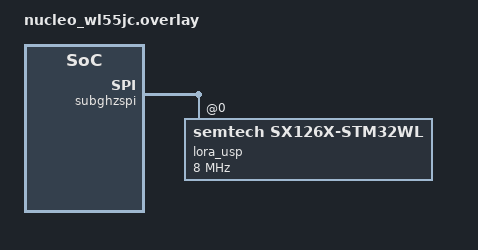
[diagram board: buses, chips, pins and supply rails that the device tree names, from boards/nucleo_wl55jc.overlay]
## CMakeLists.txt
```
# Copyright (c) 2024 Semtech Corporation
# SPDX-License-Identifier: Apache-2.0

cmake_minimum_required(VERSION 3.13.1)

find_package(Zephyr REQUIRED HINTS $ENV{ZEPHYR_BASE})
project(periodical_uplink)

target_sources(app PRIVATE
  src/main.c
)

# Apply the same compile definitions as LBM library
# Link against the INTERFACE library that contains all LBM compile definitions
target_link_libraries(app PRIVATE lbm_compile_definitions)
```

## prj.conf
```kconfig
# Copyright (c) 2024 Semtech Corporation
# SPDX-License-Identifier: Apache-2.0

# --------------------------- General configuration ---------------------------

CONFIG_USE_SEGGER_RTT=n

# heap size
CONFIG_HEAP_MEM_POOL_SIZE=4096

# log
CONFIG_LOG=y
CONFIG_LOG_BACKEND_SHOW_COLOR=n # Set it to 'y' to enable color formatting on output messages

CONFIG_TEST_RANDOM_GENERATOR=y

CONFIG_PM_DEVICE=y

CONFIG_WATCHDOG=n

CONFIG_FLASH=y

# ------------------------------ Transceiver driver ----------------------------

CONFIG_LORA_BASICS_MODEM_DRIVERS=y
# We chose to disable intermediate thread between IRQ and USP RAC Thread to make timestamping is as fast as possible
CONFIG_LORA_BASICS_MODEM_DRIVERS_EVENT_TRIGGER_NO_THREAD=y
#CONFIG_LORA_BASICS_MODEM_DRIVERS_EVENT_TRIGGER_GLOBAL_THREAD=n
#CONFIG_LORA_BASICS_MODEM_DRIVERS_EVENT_TRIGGER_OWN_THREAD=n

# ------------------------------ LoRa Basics Modem -----------------------------

CONFIG_USP_LORA_BASICS_MODEM=y

CONFIG_LORA_BASICS_MODEM_RELAY_TX=n

# CONFIG_LORA_BASICS_MODEM_MULTICAST=y
# CONFIG_LORA_BASICS_MODEM_FUOTA=y
# CONFIG_LORA_BASICS_MODEM_FUOTA_V2=y
# CONFIG_LORA_BASICS_MODEM_ALC_SYNC=y
# CONFIG_LORA_BASICS_MODEM_ALC_SYNC_V2=y

# ------------------------------ USP -----------------------------


CONFIG_USP=y
CONFIG_USP_MAIN_THREAD=y

#CONFIG_USP_LOG_LEVEL_DBG=y

CONFIG_LOG_BUFFER_SIZE=4096

# CONFIG_CLOCK_CONTROL=y
# CONFIG_CLOCK_CONTROL_NRF=y

# Threads are cooperative (non-preemptive) to simplify critical section management and avoid complex synchronization.
# This approach may reduce reactivity when ISR (interrupt service routines) are triggered (low optimization)
# The USP RAC thread is assigned a higher priority: it will execute immediately once the Main thread yields or blocks, ensuring prompt handling of USP RAC-related tasks.
# The Main thread has a lower priority: it runs only when the USP RAC thread is idle or waiting
CONFIG_MAIN_THREAD_PRIORITY=-2
CONFIG_USP_MAIN_THREAD_PRIORITY=-4

# Threads are preemptive: a thread with a higher priority can interrupt (preempt) a lower priority thread at any time.
# USP RAC thread has higher priority (1): it will preempt the main thread immediately whenever it is ready to run (ISR/Timer), ensuring low latency and fast response for USP RAC-related tasks.
# Main thread has lower priority (3): it runs only when the USP RAC thread is not active, yielding CPU time to the more urgent USP RAC operations automatically.
# This priority scheme allows responsive multitasking with guaranteed preemption based on thread priority.
# CONFIG_MAIN_THREAD_PRIORITY=3
# CONFIG_USP_MAIN_THREAD_PRIORITY=1
# CONFIG_USP_THREADS_MUTEXES=y
#
# Priority Inversion : In case of multiple threads with different priorities, consider the modification of existing priorities and mutex use, or use Zephyr capabilities :
# CONFIG_KERNEL_MEM_POOL=y
# CONFIG_MUTEX_PRIORITY_INHERITANCE=y
# CONFIG_PRIORITY_CEILING=y

# Only one thread
# CONFIG_USP_MAIN_THREAD_PRIORITY=0

# Stack
CONFIG_MAIN_STACK_SIZE=4096
CONFIG_STACK_SENTINEL=y

# Debug stack (à enlever en production)
CONFIG_THREAD_STACK_INFO=y
CONFIG_STACK_SENTINEL=y
CONFIG_THREAD_MONITOR=y
CONFIG_THREAD_NAME=y

# The following parameter disable nRF54L15 FLASH RRAM buffer size to prevent from issue being investigating
CONFIG_NRF_RRAM_WRITE_BUFFER_SIZE=0


# ------------------------------ Power management -----------------------------

# CONFIG_PM=y

# CONFIG_LOG=n
# CONFIG_SERIAL=n
# CONFIG_CONSOLE=n
# CONFIG_UART_CONSOLE=n
# CONFIG_PRINTK=n
# CONFIG_STDOUT_CONSOLE=n

CONFIG_PM_DEVICE_POWER_DOMAIN=y
# CONFIG_PM_DEVICE_RUNTIME=y


# ------------------------------ Debug -----------------------------
CONFIG_DEBUG=y
CONFIG_NO_OPTIMIZATIONS=y
CONFIG_DEBUG_OPTIMIZATIONS=y
CONFIG_DEBUG_THREAD_INFO=y
CONFIG_DCACHE=n

# Uncomment those lines to activate DMA on STM32L476RG
# CONFIG_DMA=y
# CONFIG_DMA_STM32=y
# CONFIG_SPI_STM32_DMA=y
# CONFIG_SPI_STM32_INTERRUPT=n
# CONFIG_SPI_ASYNC=n

#CONFIG_SPI_LOG_LEVEL_DBG=y
#CONFIG_NRFX_SPIM_LOG_LEVEL_DBG=y
```

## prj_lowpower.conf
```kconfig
# Copyright (c) 2024 Semtech Corporation
# SPDX-License-Identifier: Apache-2.0

# --------------------------- General configuration ---------------------------

CONFIG_USE_SEGGER_RTT=n

# heap size
CONFIG_HEAP_MEM_POOL_SIZE=4096

# log
CONFIG_LOG=y
CONFIG_LOG_BACKEND_SHOW_COLOR=n # Set it to 'y' to enable color formatting on output messages

CONFIG_TEST_RANDOM_GENERATOR=y

CONFIG_PM_DEVICE=y

CONFIG_WATCHDOG=n

CONFIG_FLASH=y

# ------------------------------ Transceiver driver ----------------------------

CONFIG_LORA_BASICS_MODEM_DRIVERS=y
# We chose to disable intermediate thread between IRQ and USP RAC Thread to make timestamping is as fast as possible
CONFIG_LORA_BASICS_MODEM_DRIVERS_EVENT_TRIGGER_NO_THREAD=y
#CONFIG_LORA_BASICS_MODEM_DRIVERS_EVENT_TRIGGER_GLOBAL_THREAD=n
#CONFIG_LORA_BASICS_MODEM_DRIVERS_EVENT_TRIGGER_OWN_THREAD=n

# ------------------------------ LoRa Basics Modem -----------------------------

CONFIG_USP_LORA_BASICS_MODEM=y

CONFIG_LORA_BASICS_MODEM_RELAY_TX=n

# CONFIG_LORA_BASICS_MODEM_MULTICAST=y
# CONFIG_LORA_BASICS_MODEM_FUOTA=y
# CONFIG_LORA_BASICS_MODEM_FUOTA_V2=y
# CONFIG_LORA_BASICS_MODEM_ALC_SYNC=y
# CONFIG_LORA_BASICS_MODEM_ALC_SYNC_V2=y

# ------------------------------ USP -----------------------------


CONFIG_USP=y
CONFIG_USP_MAIN_THREAD=y

#CONFIG_USP_LOG_LEVEL_DBG=y

CONFIG_LOG_BUFFER_SIZE=4096

# CONFIG_CLOCK_CONTROL=y
# CONFIG_CLOCK_CONTROL_NRF=y

# Threads are cooperative (non-preemptive) to simplify critical section management and avoid complex synchronization.
# This approach may reduce reactivity when ISR (interrupt service routines) are triggered (low optimization)
# The USP RAC thread is assigned a higher priority: it will execute immediately once the Main thread yields or blocks, ensuring prompt handling of USP RAC-related tasks.
# The Main thread has a lower priority: it runs only when the USP RAC thread is idle or waiting
CONFIG_MAIN_THREAD_PRIORITY=-2
CONFIG_USP_MAIN_THREAD_PRIORITY=-4

# Threads are preemptive: a thread with a higher priority can interrupt (preempt) a lower priority thread at any time.
# USP RAC thread has higher priority (1): it will preempt the main thread immediately whenever it is ready to run (ISR/Timer), ensuring low latency and fast response for USP RAC-related tasks.
# Main thread has lower priority (3): it runs only when the USP RAC thread is not active, yielding CPU time to the more urgent USP RAC operations automatically.
# This priority scheme allows responsive multitasking with guaranteed preemption based on thread priority.
# CONFIG_MAIN_THREAD_PRIORITY=3
# CONFIG_USP_MAIN_THREAD_PRIORITY=1
# CONFIG_USP_THREADS_MUTEXES=y
#
# Priority Inversion : In case of multiple threads with different priorities, consider the modification of existing priorities and mutex use, or use Zephyr capabilities :
# CONFIG_KERNEL_MEM_POOL=y
# CONFIG_MUTEX_PRIORITY_INHERITANCE=y
# CONFIG_PRIORITY_CEILING=y

# Only one thread
# CONFIG_USP_MAIN_THREAD_PRIORITY=0

# Stack
CONFIG_MAIN_STACK_SIZE=4096
CONFIG_STACK_SENTINEL=y

# Debug stack (à enlever en production)
CONFIG_THREAD_STACK_INFO=y
CONFIG_STACK_SENTINEL=y
CONFIG_THREAD_MONITOR=y
CONFIG_THREAD_NAME=y

# The following parameter disable nRF54L15 FLASH RRAM buffer size to prevent from issue being investigating
CONFIG_NRF_RRAM_WRITE_BUFFER_SIZE=0

# ------------------------------ Low Power -----------------------------
CONFIG_LOG=n
CONFIG_PRINTK=n
CONFIG_BOOT_BANNER=n
CONFIG_USP_MODEM_HAL_DBG_TRACE=n
CONFIG_USP_HAL_DBG_TRACE=n
CONFIG_SERIAL=n
CONFIG_CONSOLE=n
CONFIG_UART_CONSOLE=n
CONFIG_STDOUT_CONSOLE=n

CONFIG_PM_DEVICE=y
# CONFIG_PM_DEVICE_RUNTIME=y
CONFIG_PM_DEVICE_SYSTEM_MANAGED=y

CONFIG_PM_DEVICE_POWER_DOMAIN=y

# Uncomment those lines to activate DMA on STM32L476RG
# CONFIG_DMA=y
# CONFIG_DMA_STM32=y
# CONFIG_SPI_STM32_DMA=y
# CONFIG_SPI_STM32_INTERRUPT=n
# CONFIG_SPI_ASYNC=n

#CONFIG_SPI_LOG_LEVEL_DBG=y
#CONFIG_NRFX_SPIM_LOG_LEVEL_DBG=y
```

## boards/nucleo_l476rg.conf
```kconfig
# Copyright (c) 2024 Semtech Corporation
# SPDX-License-Identifier: Apache-2.0

# ------------------------------ NUCLEO L476RG CLOCK DRIFT -----------------------------
# PM is required for STM32_LPTIM_TIMER
CONFIG_PM=y

# Disable SYSTICK and use LPTIM on LSE for precise clock without drift
CONFIG_CORTEX_M_SYSTICK=n
CONFIG_STM32_LPTIM_TIMER=y
CONFIG_CLOCK_CONTROL=y
CONFIG_RESET=y

# Note: LPTIM clock source (LSE 32768Hz) is configured in the device tree overlay
```

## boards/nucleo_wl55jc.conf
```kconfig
# Copyright (c) 2026 Semtech Corporation
# SPDX-License-Identifier: Apache-2.0
# Created by Charles-Henri Hallard (charles@evolyenergy.com)
#
# Board-specific Kconfig for ST NUCLEO-WL55JC (STM32WL55JC).

# Disable the native Zephyr LoRa driver — USP uses its own STM32WL HAL
CONFIG_LORA=n
CONFIG_SEMTECH_SX126X=n

# USP STM32WL internal radio driver
CONFIG_SEMTECH_SX126X_STM32WL=y

CONFIG_GPIO=y
CONFIG_SERIAL=y
CONFIG_CONSOLE=y
CONFIG_UART_CONSOLE=y
```

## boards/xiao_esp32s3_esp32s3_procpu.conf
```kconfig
# Copyright (c) 2026 Semtech Corporation
# SPDX-License-Identifier: Apache-2.0

# ------------------------------ Xiao ESP32-S3 -----------------------------

#Use immediate log mode to avoid a logging stack overflow
CONFIG_LOG_MODE_IMMEDIATE=y
```

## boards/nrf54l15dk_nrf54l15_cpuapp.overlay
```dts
// /*
//  * Copyright (c) 2024 Semtech Corporation
//  *
//  * SPDX-License-Identifier: Apache-2.0
//  */

#include "user_keys.overlay"

/ {
	aliases {
		smtc-watchdog = &wdt31;
		smtc-user-button = &button0;
	};
};

// Set SPI freq @4MHz
&{/soc/peripheral@50000000/spi@4a000/lora@0} {
	spi-max-frequency = < 4000000 >;
};

&radio {
	status = "disabled";
};

&ieee802154 {
	status = "disabled";
};

&bt_hci_controller {
	status = "disabled";
};

&pwm20 {
	status = "disabled";
};

&adc {
	status = "disabled";
};

&temp {
	status = "disabled";
};

&mx25r64 {
	status = "disabled";
};


// &rng_hci {
	//     status = "disabled";
// };

&uart30 {
	status = "disabled";
};

// &clock {
	//     status = "disabled"; //For some reason, disabling it increases power consumption
// };

&power {
	status = "okay";
};

&gpregret1 {
	status = "okay";
};

&gpregret2 {
	status = "okay";
};

&rng {
	status = "disabled";
};

// &spi00 {
	//     status = "disabled";
// };


&uart20 {
	status = "okay";
	// disable-rx; //Disabling RX allows a gain of ~200µA, totally disabling uart allows another gain of ~200µA
	// /delete-property/ hw-flow-control;
};

&pinctrl {
	uart20_default: uart20_default {
		group1 {
			psels = <NRF_PSEL(UART_TX, 1, 4)>
			// ,<NRF_PSEL(UART_RTS, 0, 2)>
			;
		};
		group2 {
			psels = <NRF_PSEL(UART_RX, 0, 1)> //DIO9 is mapped on RX
			// ,<NRF_PSEL(UART_CTS, 0, 3)>
			;
			bias-pull-up;
		};
	};

	uart20_sleep: uart20_sleep {
		group1 {
			psels = <NRF_PSEL(UART_TX, 1, 4)>,
					<NRF_PSEL(UART_RX, 0, 1)>
					// ,<NRF_PSEL(UART_RTS, 0, 2)>
					// ,<NRF_PSEL(UART_CTS, 0, 3)>
					;
			low-power-enable;
		};
	};
};

&wdt31 {
	status = "okay";
};
```

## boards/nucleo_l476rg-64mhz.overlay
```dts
/*
 * Copyright (c) 2024 Semtech Corporation
 *
 * SPDX-License-Identifier: Apache-2.0
 */

#include "user_keys.overlay"

/ {
        aliases {
                smtc-watchdog = &iwdg;
                smtc-user-button = &user_button;
        };
};

// Uncomment the following 3 sections to set board @64MHz (instead of 80) and SPI@16MHz (instead of 10)
&pll {
	mul-n = <16>; 
};

&rcc {
	clock-frequency = < 64000000 >;
};

&{/soc/spi@40013000/lora@0} {
	spi-max-frequency = < 16000000 >; 
};
// END 64MHz --------------------------------------------------------

&lptim1 {
	clocks = <&rcc STM32_CLOCK_BUS_APB1 0x80000000>,
		 <&rcc STM32_SRC_LSE LPTIM1_SEL(3)>;
	status = "okay";
};

&spi3 {
        status = "disabled";
};

&iwdg {
        status = "disabled";
};

&arduino_spi {
        /delete-property/ overrun-character;
        // Uncomment those 3 lines to activate DMA on STM32L4
        // dmas = <&dma1 3 1 (STM32_DMA_PERIPH_TX | STM32_DMA_PRIORITY_HIGH)>,
        //        <&dma1 2 1 (STM32_DMA_PERIPH_RX | STM32_DMA_PRIORITY_HIGH)>;
        // dma-names = "tx", "rx";
};

// Uncomment those 3 lines to activate DMA on STM32L4
// &dma1 {
//         status = "okay";
// };

&arduino_i2c {
        /delete-property/ zephyr,concat-buf-size;
};
```

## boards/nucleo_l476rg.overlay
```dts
/*
 * Copyright (c) 2024 Semtech Corporation
 *
 * SPDX-License-Identifier: Apache-2.0
 */

#include "user_keys.overlay"

/ {
        aliases {
                smtc-watchdog = &iwdg;
                smtc-user-button = &user_button;
        };
};

&lptim1 {
	clocks = <&rcc STM32_CLOCK_BUS_APB1 0x80000000>,
		 <&rcc STM32_SRC_LSE LPTIM1_SEL(3)>;
	status = "okay";
};

&spi3 {
        status = "disabled";
};

&iwdg {
        status = "disabled";
};

&arduino_spi {
        /delete-property/ overrun-character;
        // Uncomment those 3 lines to activate DMA on STM32L4
        // dmas = <&dma1 3 1 (STM32_DMA_PERIPH_TX | STM32_DMA_PRIORITY_HIGH)>,
        //        <&dma1 2 1 (STM32_DMA_PERIPH_RX | STM32_DMA_PRIORITY_HIGH)>;
        // dma-names = "tx", "rx";
};

// Uncomment those 3 lines to activate DMA on STM32L4
// &dma1 {
//         status = "okay";
// };

&arduino_i2c {
        /delete-property/ zephyr,concat-buf-size;
};
```

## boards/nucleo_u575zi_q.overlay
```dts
/*
 * Copyright (c) 2024 Semtech Corporation
 *
 * SPDX-License-Identifier: Apache-2.0
 */

#include "user_keys.overlay"

/ {
	aliases {
		smtc-watchdog = &iwdg;
		smtc-user-button = &user_button;
	};
};

&i2c1 {
	status = "disabled";
};

&i2c2 {
	status = "disabled";
};

&lptim1 {
	status = "disabled";
};

&timers3 {
	status = "disabled";
};

&timers4 {
	status = "disabled";
};

&dac1 {
	status = "disabled";
};

&adc1 {
	status = "disabled";
};

&adc4 {
	status = "disabled";
};

&fdcan1 {
	status = "disabled";
};

&usbotg_fs {
	status = "disabled";
};

&usart2 {
	status = "disabled";
};

&iwdg {
	status = "disabled";
};

&wwdg {
	status = "disabled";
};

&arduino_spi {
	/delete-property/ overrun-character;
};

&arduino_i2c {
    /delete-property/ zephyr,concat-buf-size;
};
```

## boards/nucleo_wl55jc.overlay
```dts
/*
 * Copyright (c) 2026 Semtech Corporation
 * SPDX-License-Identifier: Apache-2.0
 * Created by Charles-Henri Hallard (charles@evolyenergy.com)
 *
 * Board overlay for ST NUCLEO-WL55JC (STM32WL55JC, HP PA).
 *
 * The base board DTS (nucleo_wl55jc.dts) already contains all hardware
 * properties needed by the USP binding (property names match native Zephyr):
 *   - tx-enable-gpios (PC4 / FE_CTRL1, ACTIVE_LOW)
 *   - rx-enable-gpios (PC5 / FE_CTRL2, ACTIVE_LOW)
 *   - dio3-tcxo-voltage = <SX126X_DIO3_TCXO_1V7>
 *   - tcxo-power-startup-delay-ms = <5>
 *   - power-amplifier-output = "rfo-hp"
 *   - rfo-lp-max-power = <15>
 *   - rfo-hp-max-power = <22>
 *
 * We only need to:
 *   1. Replace the compatible with "semtech,sx126x-stm32wl".
 *   2. Add spi-max-frequency (required by spi-device.yaml).
 *   3. Wire up aliases/chosen for the USP framework.
 *
 * No regulator-ldo: NUCLEO-WL55JC has an external DC-DC inductor (L2)
 * so the DC-DC converter is used (better efficiency).
 *
 * Console stays on lpuart1 (PA2/PA3) — the board default.
 */

&subghzspi {
    status = "okay";

    lora_usp: radio@0 {
        /* Use the STM32WL internal-radio USP driver. */
        compatible = "semtech,sx126x-stm32wl";
        status = "okay";

        /* SPI speed (required by spi-device.yaml) */
        spi-max-frequency = <8000000>;

        /* All radio properties (RF switch, TCXO, PA) are inherited
         * from nucleo_wl55jc.dts — no overrides needed. */

        /* No regulator-ldo: DC-DC converter used (external inductor). */
    };
};

/* Alias required by USP sample applications */
/ {
    aliases {
        lora-transceiver0 = &lora_usp;
    };

    chosen {
        zephyr,lorawan-transceiver = &lora_usp;
    };
};

/* LoRaWAN credentials (placeholder — replace with real values before flashing) */
#include "user_keys.overlay"
```

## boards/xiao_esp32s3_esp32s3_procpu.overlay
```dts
// /*
//  * Copyright (c) 2024 Semtech Corporation
//  *
//  * SPDX-License-Identifier: Apache-2.0
//  */

#include "user_keys.overlay"

/ {
	aliases {
		smtc-watchdog = &wdt0;
		smtc-user-button = &usr_btn;
	};

	buttons: buttons {
		compatible = "gpio-keys";

		usr_btn: usr-btn {
			gpios = <&gpio1 6 (GPIO_ACTIVE_HIGH | GPIO_PULL_DOWN)>; //GPIO38
		};
	};
};

&uart0
{
	status = "disabled";
};

&wifi {
	status = "disabled";
};

&esp32_bt_hci {
	status = "disabled";
};

&i2c0 {
	status = "disabled";
};

&twai {
	status = "disabled";
};

&wdt0 {
	status = "okay";
};
```

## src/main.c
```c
/**
 * @file      main.c
 *
 * @brief     Application main
 *
 * The Clear BSD License
 * Copyright Semtech Corporation 2025. All rights reserved.
 *
 * Redistribution and use in source and binary forms, with or without
 * modification, are permitted (subject to the limitations in the disclaimer
 * below) provided that the following conditions are met:
 *     * Redistributions of source code must retain the above copyright
 *       notice, this list of conditions and the following disclaimer.
 *     * Redistributions in binary form must reproduce the above copyright
 *       notice, this list of conditions and the following disclaimer in the
 *       documentation and/or other materials provided with the distribution.
 *     * Neither the name of the Semtech corporation nor the
 *       names of its contributors may be used to endorse or promote products
 *       derived from this software without specific prior written permission.
 *
 * NO EXPRESS OR IMPLIED LICENSES TO ANY PARTY'S PATENT RIGHTS ARE GRANTED BY
 * THIS LICENSE. THIS SOFTWARE IS PROVIDED BY THE COPYRIGHT HOLDERS AND
 * CONTRIBUTORS "AS IS" AND ANY EXPRESS OR IMPLIED WARRANTIES, INCLUDING, BUT
 * NOT LIMITED TO, THE IMPLIED WARRANTIES OF MERCHANTABILITY AND FITNESS FOR A
 * PARTICULAR PURPOSE ARE DISCLAIMED. IN NO EVENT SHALL SEMTECH CORPORATION BE
 * LIABLE FOR ANY DIRECT, INDIRECT, INCIDENTAL, SPECIAL, EXEMPLARY, OR
 * CONSEQUENTIAL DAMAGES (INCLUDING, BUT NOT LIMITED TO, PROCUREMENT OF
 * SUBSTITUTE GOODS OR SERVICES; LOSS OF USE, DATA, OR PROFITS; OR BUSINESS
 * INTERRUPTION) HOWEVER CAUSED AND ON ANY THEORY OF LIABILITY, WHETHER IN
 * CONTRACT, STRICT LIABILITY, OR TORT (INCLUDING NEGLIGENCE OR OTHERWISE)
 * ARISING IN ANY WAY OUT OF THE USE OF THIS SOFTWARE, EVEN IF ADVISED OF THE
 * POSSIBILITY OF SUCH DAMAGE.
 */

#include <zephyr/kernel.h>
#include <zephyr/logging/log.h>
#include <zephyr/drivers/gpio.h>
#include <zephyr/lorawan_lbm/lorawan_hal_init.h>

#include <smtc_modem_api.h>
#include <smtc_modem_test_api.h>
#include <smtc_modem_utilities.h>
#include <smtc_core_hal.h>
#include <smtc_modem_helper.h>

#include <smtc_zephyr_usp_api.h>
#include <smtc_sw_platform_helper.h>
#include <smtc_hal_led.h>

LOG_MODULE_REGISTER( periodical_uplink, LOG_LEVEL_INF );

/*
 * -----------------------------------------------------------------------------
 * --- PRIVATE CONSTANTS -------------------------------------------------------
 */

/**
 * @brief Watchdog counter reload value during sleep (The period must be lower than MCU watchdog
 * period (here 32s))
 */
#define WATCHDOG_RELOAD_PERIOD_MS 20000

/**
 * @brief Periodical uplink alarm delay in seconds
 */
#ifndef PERIODICAL_UPLINK_DELAY_S
#define PERIODICAL_UPLINK_DELAY_S 60
#endif

#ifndef DELAY_FIRST_MSG_AFTER_JOIN
#define DELAY_FIRST_MSG_AFTER_JOIN 60
#endif

/**
 * @brief User button - Disable if not available on user board
 */

#define LBM_DTS_HAS_USER_BTN DT_NODE_EXISTS( DT_ALIAS( smtc_user_button ) )

#if LBM_DTS_HAS_USER_BTN
static const struct gpio_dt_spec button = GPIO_DT_SPEC_GET( DT_ALIAS( smtc_user_button ), gpios );
static struct gpio_callback      button_cb_data;
#endif
/*
 * -----------------------------------------------------------------------------
 * --- PRIVATE TYPES -----------------------------------------------------------
 */

/*
 * -----------------------------------------------------------------------------
 * --- PRIVATE VARIABLES -------------------------------------------------------
 */

static uint32_t uplink_counter = 0; /* uplink raising counter */
#if LBM_DTS_HAS_USER_BTN
static volatile bool user_button_is_press = false; /* Flag for button status */
#endif

/*
 * -----------------------------------------------------------------------------
 * --- PRIVATE FUNCTIONS DECLARATION -------------------------------------------
 */

#if LBM_DTS_HAS_USER_BTN
/**
 * @brief User callback for button EXTI
 *
 * @param context Define by the user at the init
 */
static void user_button_callback( const void* context );

/**
 * @brief Configure User Button
 *
 */
static int configure_user_button( void );
#endif

/**
 * @brief Send the 32bits uplink counter on chosen port
 */
static void send_uplink_counter_on_port( uint8_t port );

/*
 * -----------------------------------------------------------------------------
 * --- PUBLIC FUNCTIONS DEFINITION ---------------------------------------------
 */

/* A binary semaphore to notify the main LBM loop */
K_SEM_DEFINE( periodical_uplink_event_sem, 0, 1 );

#if LBM_DTS_HAS_USER_BTN
/* for zephyr compat*/
void button_pressed( const struct device* dev, struct gpio_callback* cb, uint32_t pins )
{
    printk( "%s", __func__ );
    user_button_callback( dev );
}
#endif

/**
 * @brief Example to send a user payload on an external event
 *
 */
int main( void )
{
#if LBM_DTS_HAS_USER_BTN
    if( configure_user_button( ) != 0 )
    {
        LOG_ERR( "Issue when configuring user button, aborting\n" );
        return 1;
    }
#endif

    LOG_INF( "LoRaWAN Periodical uplink (%d sec) example is starting", PERIODICAL_UPLINK_DELAY_S );

    SMTC_SW_PLATFORM_INIT( );
    SMTC_SW_PLATFORM_VOID( smtc_rac_init( ) );
    // Call smtc_modem_init() after smtc_rac_init()
    SMTC_SW_PLATFORM_VOID( smtc_modem_init( &modem_event_callback ) );

    hal_led_init( );
    hal_led_set( HAL_LED_TX, true );
    hal_led_set( HAL_LED_RX, false );

    while( true )
    {
#if LBM_DTS_HAS_USER_BTN
        if( user_button_is_press == true )
        {
            user_button_is_press = false;
            LOG_DBG( "Button pressed" );

            smtc_modem_status_mask_t status_mask = 0;

            smtc_modem_get_status( STACK_ID, &status_mask );

            // Check if the device has already joined a network
            if( ( status_mask & SMTC_MODEM_STATUS_JOINED ) == SMTC_MODEM_STATUS_JOINED )
            {
                // Send the uplink counter on port 102
                send_uplink_counter_on_port( 102 );
                smtc_modem_hal_wake_up( );
            }
        }
#endif

#if !defined( CONFIG_USP_MAIN_THREAD )
        uint32_t sleep_time_ms = smtc_modem_run_engine( );
        smtc_rac_run_engine( );
        if( smtc_rac_is_irq_flag_pending( ) )
        {
            continue;
        }
        // Allows waking up on radio event or push-button press
        struct k_sem* sems[] = { smtc_modem_hal_get_event_sem( ), &periodical_uplink_event_sem };
        ( void ) wait_on_sems( sems, 2, K_MSEC( MIN( sleep_time_ms, WATCHDOG_RELOAD_PERIOD_MS ) ) );
#else
#if LBM_DTS_HAS_USER_BTN
        if( user_button_is_press == false )
        {
            k_sem_take( &periodical_uplink_event_sem, K_MSEC( WATCHDOG_RELOAD_PERIOD_MS ) );
        }
#else
        k_sem_take( &periodical_uplink_event_sem, K_MSEC( WATCHDOG_RELOAD_PERIOD_MS ) );
#endif
#endif
    }
    return 0;
}

/*
 * -----------------------------------------------------------------------------
 * --- PRIVATE FUNCTIONS DEFINITION --------------------------------------------
 */

#if LBM_DTS_HAS_USER_BTN
static int configure_user_button( void )
{
    int ret = 0;
    if( !gpio_is_ready_dt( &button ) )
    {
        printk( "Error: button device %s is not ready\n", button.port->name );
        return 1;
    }

    ret = gpio_pin_configure_dt( &button, GPIO_INPUT );
    if( ret != 0 )
    {
        printk( "Error %d: failed to configure %s pin %d\n", ret, button.port->name, button.pin );
        return 1;
    }

    ret = gpio_pin_interrupt_configure_dt( &button, GPIO_INT_EDGE_TO_ACTIVE );
    if( ret != 0 )
    {
        printk( "Error %d: failed to configure interrupt on %s pin %d\n", ret, button.port->name, button.pin );
        return 1;
    }

    gpio_init_callback( &button_cb_data, button_pressed, BIT( button.pin ) );
    gpio_add_callback( button.port, &button_cb_data );

    return 0;
}
#endif

void smtc_modem_helper_event( smtc_modem_event_type_t event_type )
{
    switch( event_type )
    {
    case SMTC_MODEM_EVENT_ALARM:
        /* Send periodical uplink on port 101 */
        send_uplink_counter_on_port( 101 );
        /* Restart periodical uplink alarm */
        ASSERT_SMTC_MODEM_RC( smtc_modem_alarm_start_timer( PERIODICAL_UPLINK_DELAY_S ) );
        break;
    case SMTC_MODEM_EVENT_JOINED:
        /* Send first periodical uplink on port 101 */
        send_uplink_counter_on_port( 101 );
        /* start periodical uplink alarm */
        ASSERT_SMTC_MODEM_RC( smtc_modem_alarm_start_timer( DELAY_FIRST_MSG_AFTER_JOIN ) );
        break;
    default:
        break;
    }
}

#if LBM_DTS_HAS_USER_BTN
static void user_button_callback( const void* context )
{
    LOG_INF( "Button pushed" );

    static uint32_t last_press_timestamp_ms;

    /* Debounce the button press, avoid multiple triggers */
    if( ( int32_t ) ( smtc_modem_hal_get_time_in_ms( ) - last_press_timestamp_ms ) > 500 )
    {
        last_press_timestamp_ms = smtc_modem_hal_get_time_in_ms( );
        user_button_is_press    = true;
    }
    /* Wake up the main thread */
    k_sem_give( &periodical_uplink_event_sem );
}
#endif

static void send_uplink_counter_on_port( uint8_t port )
{
    /* Send uplink counter on port 102 */
    uint8_t buff[4] = { 0 };

    buff[0] = ( uplink_counter >> 24 ) & 0xFF;
    buff[1] = ( uplink_counter >> 16 ) & 0xFF;
    buff[2] = ( uplink_counter >> 8 ) & 0xFF;
    buff[3] = ( uplink_counter & 0xFF );
    ASSERT_SMTC_MODEM_RC( smtc_modem_request_uplink( STACK_ID, port, false, buff, 4 ) );
    /* Increment uplink counter */
    uplink_counter++;
}

/* --- EOF ------------------------------------------------------------------ */
```
